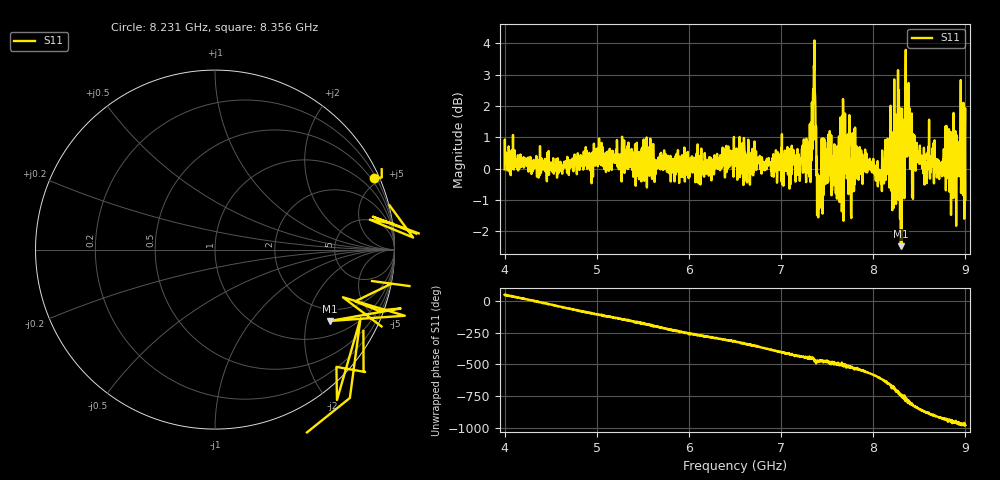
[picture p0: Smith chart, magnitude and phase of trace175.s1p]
! Created with skrf 1.8.0 (http://scikit-rf.org).
# Hz S RI R 50.0
!freq ReS11 ImS11
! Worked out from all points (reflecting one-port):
!   1601 points, 4 GHz to 9 GHz, reference 50 ohm
!   lowest |S11| = -2.5 dB at 8.3 GHz (marker M1), VSWR 7.07, Z = 75.1 - j138 ohm
!   phase of S11 starts at 52 deg and turns -1034 deg over the sweep
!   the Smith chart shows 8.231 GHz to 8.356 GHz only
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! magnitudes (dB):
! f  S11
! 4 GHz  0.0
! 4.625 GHz  -0.2
! 5.25 GHz  0.1
! 5.875 GHz  0.2
! 6.5 GHz  0.5
! 7.125 GHz  0.4
! 7.294 GHz  0.2
! 7.356 GHz  3.3
! 7.409 GHz  -0.3
! 7.481 GHz  -0.5
! 7.616 GHz  0.5
! 7.669 GHz  1.3
! 7.75 GHz  -0.2
! 7.822 GHz  -0.1
! 8.069 GHz  -0.1
! 8.162 GHz  -0.2
! 8.2 GHz  -0.2
! 8.253 GHz  0.0
! 8.3 GHz  -2.5
! 8.316 GHz  0.1
! 8.375 GHz  0.5
! 8.441 GHz  1.0
! 8.556 GHz  -0.5
! 8.738 GHz  -0.1
! 8.816 GHz  1.0
! 8.875 GHz  -0.3
! 8.972 GHz  0.9
! 9 GHz  -1.0
